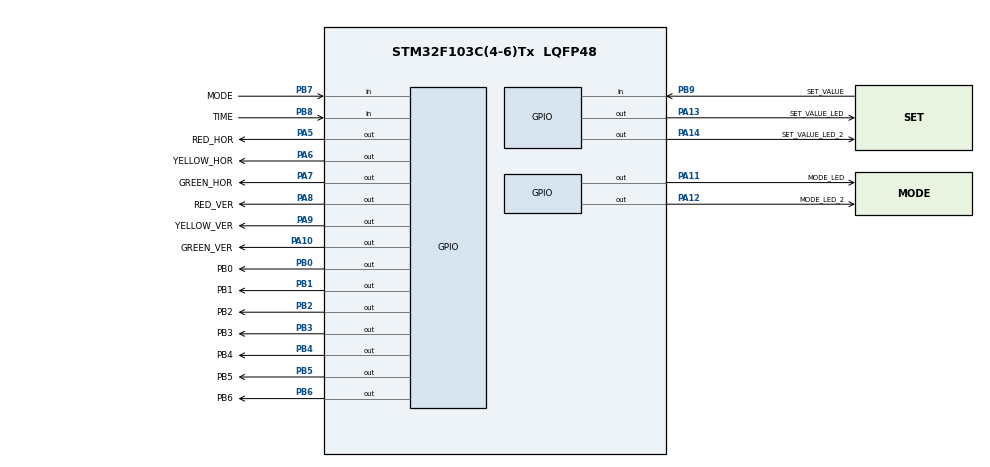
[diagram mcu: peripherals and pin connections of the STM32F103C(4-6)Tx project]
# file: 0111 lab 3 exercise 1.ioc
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Mcu.Family=STM32F1
Mcu.Name=STM32F103C(4-6)Tx
Mcu.Package=LQFP48
NVIC.PriorityGroup=NVIC_PRIORITYGROUP_4
NVIC.TIM2_IRQn=true\:0\:0\:false\:false\:true\:true\:true
NVIC.TIM3_IRQn=true\:0\:0\:false\:false\:true\:true\:true
PA10.GPIO_Label=GREEN_VER
PA10.Signal=GPIO_Output
PA11.GPIO_Label=MODE_LED
PA11.Signal=GPIO_Output
PA12.GPIO_Label=MODE_LED_2
PA12.Signal=GPIO_Output
PA13.GPIO_Label=SET_VALUE_LED
PA13.Signal=GPIO_Output
PA14.GPIO_Label=SET_VALUE_LED_2
PA14.Signal=GPIO_Output
PA5.GPIO_Label=RED_HOR
PA5.Signal=GPIO_Output
PA6.GPIO_Label=YELLOW_HOR
PA6.Signal=GPIO_Output
PA7.GPIO_Label=GREEN_HOR
PA7.Signal=GPIO_Output
PA8.GPIO_Label=RED_VER
PA8.Signal=GPIO_Output
PA9.GPIO_Label=YELLOW_VER
PA9.Signal=GPIO_Output
PB0.GPIO_Label=PB0
PB0.Signal=GPIO_Output
PB1.GPIO_Label=PB1
PB1.Signal=GPIO_Output
PB2.GPIO_Label=PB2
PB2.Signal=GPIO_Output
PB3.GPIO_Label=PB3
PB3.Signal=GPIO_Output
PB4.GPIO_Label=PB4
PB4.Signal=GPIO_Output
PB5.GPIO_Label=PB5
PB5.Signal=GPIO_Output
PB6.GPIO_Label=PB6
PB6.Signal=GPIO_Output
PB7.GPIO_Label=MODE
PB7.GPIO_PuPd=GPIO_PULLUP
PB7.Signal=GPIO_Input
PB8.GPIO_Label=TIME
PB8.GPIO_PuPd=GPIO_PULLUP
PB8.Signal=GPIO_Input
PB9.GPIO_Label=SET_VALUE
PB9.GPIO_PuPd=GPIO_PULLUP
PB9.Signal=GPIO_Input
ProjectManager.HeapSize=0x200
ProjectManager.StackSize=0x400
ProjectManager.TargetToolchain=STM32CubeIDE
RCC.APB1Freq_Value=8000000
RCC.APB2Freq_Value=8000000
TIM2.Period=9
TIM2.Prescaler=7999
TIM3.Period=499
TIM3.Prescaler=7999
VP_SYS_VS_ND.Mode=No_Debug
VP_TIM2_VS_ClockSourceINT.Mode=Internal
VP_TIM3_VS_ClockSourceINT.Mode=Internal
board=custom

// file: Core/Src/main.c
/* USER CODE BEGIN Header */
/**
  ******************************************************************************
  * @file           : main.c
  * @brief          : Main program body
  ******************************************************************************
  * @attention
  *
  * <h2><center>&copy; Copyright (c) 2022 STMicroelectronics.
  * All rights reserved.</center></h2>
  *
  * This software component is licensed by ST under BSD 3-Clause license,
  * the "License"; You may not use this file except in compliance with the
  * License. You may obtain a copy of the License at:
  *                        opensource.org/licenses/BSD-3-Clause
  *
  ******************************************************************************
  */
/* USER CODE END Header */
#include "main.h"

/* USER CODE BEGIN Includes */
#include "global.h"
/* USER CODE END Includes */

TIM_HandleTypeDef htim2;
TIM_HandleTypeDef htim3;

void SystemClock_Config(void);
static void MX_TIM2_Init(void);
static void MX_GPIO_Init(void);
static void MX_TIM3_Init(void);

/* USER CODE BEGIN 0 */
void Led_Display()
{
	  HAL_GPIO_TogglePin(RED_HOR_GPIO_Port, RED_HOR_Pin);
}

void Led2_Display()
{
	 HAL_GPIO_TogglePin(YELLOW_HOR_GPIO_Port, YELLOW_HOR_Pin);
}

void Led3_Display()
{
	 HAL_GPIO_TogglePin(GREEN_HOR_GPIO_Port,GREEN_HOR_Pin);
}

//	void (*test)(void) = Led_Display;

/* USER CODE END 0 */

int main(void)
{
  /* USER CODE BEGIN 1 */
//	HAL_GPIO_WritePin(RED_HOR_GPIO_Port, RED_HOR_Pin, 1);
//	HAL_GPIO_WritePin(GREEN_HOR_GPIO_Port, GREEN_HOR_Pin, 1);
	// In it all the requirements for the system to run
	//  	 System_Initialization() ;
	// Initialize a schedule
//		 SCH_Init() ;
	//Add a task to repeatedly call in every 1 second .
//		SCH_Add_Task( Led_Display , 50 , 50) ;

  /* USER CODE END 1 */

  /* MCU Configuration--------------------------------------------------------*/

  /* Reset of all peripherals, Initializes the Flash interface and the Systick. */
  HAL_Init();

  /* Configure the system clock */
  SystemClock_Config();

  /* Initialize all configured peripherals */
  MX_TIM2_Init();
  MX_GPIO_Init();
  MX_TIM3_Init();
  /* USER CODE BEGIN 2 */
  HAL_TIM_Base_Start_IT(&htim2);
  HAL_TIM_Base_Start_IT(&htim3);

  /* USER CODE END 2 */

  /* Infinite loop */
  /* USER CODE BEGIN WHILE */
  SCH_Add_Task(Led_Display, 50, 51);
  SCH_Add_Task(Led2_Display, 100, 0);
  SCH_Add_Task(Led3_Display, 150, 0);

  while (1)
  {
	 SCH_Dispatch_Tasks() ;//execute led display

    /* USER CODE END WHILE */

  }
}

void SystemClock_Config(void)
{
  RCC_OscInitTypeDef RCC_OscInitStruct = {0};
  RCC_ClkInitTypeDef RCC_ClkInitStruct = {0};

  /** Initializes the RCC Oscillators according to the specified parameters
  * in the RCC_OscInitTypeDef structure.
  */
  RCC_OscInitStruct.OscillatorType = RCC_OSCILLATORTYPE_HSI;
  RCC_OscInitStruct.HSIState = RCC_HSI_ON;
  RCC_OscInitStruct.HSICalibrationValue = RCC_HSICALIBRATION_DEFAULT;
  RCC_OscInitStruct.PLL.PLLState = RCC_PLL_NONE;
  if (HAL_RCC_OscConfig(&RCC_OscInitStruct) != HAL_OK)
  {
    Error_Handler();
  }
  /** Initializes the CPU, AHB and APB buses clocks
  */
  RCC_ClkInitStruct.ClockType = RCC_CLOCKTYPE_HCLK|RCC_CLOCKTYPE_SYSCLK
                              |RCC_CLOCKTYPE_PCLK1|RCC_CLOCKTYPE_PCLK2;
  RCC_ClkInitStruct.SYSCLKSource = RCC_SYSCLKSOURCE_HSI;
  RCC_ClkInitStruct.AHBCLKDivider = RCC_SYSCLK_DIV1;
  RCC_ClkInitStruct.APB1CLKDivider = RCC_HCLK_DIV1;
  RCC_ClkInitStruct.APB2CLKDivider = RCC_HCLK_DIV1;

  if (HAL_RCC_ClockConfig(&RCC_ClkInitStruct, FLASH_LATENCY_0) != HAL_OK)
  {
    Error_Handler();
  }
}

static void MX_TIM2_Init(void)
{

  TIM_ClockConfigTypeDef sClockSourceConfig = {0};
  TIM_MasterConfigTypeDef sMasterConfig = {0};

  htim2.Instance = TIM2;
  htim2.Init.Prescaler = 7999;
  htim2.Init.CounterMode = TIM_COUNTERMODE_UP;
  htim2.Init.Period = 9;
  htim2.Init.ClockDivision = TIM_CLOCKDIVISION_DIV1;
  htim2.Init.AutoReloadPreload = TIM_AUTORELOAD_PRELOAD_DISABLE;
  if (HAL_TIM_Base_Init(&htim2) != HAL_OK)
  {
    Error_Handler();
  }
  sClockSourceConfig.ClockSource = TIM_CLOCKSOURCE_INTERNAL;
  if (HAL_TIM_ConfigClockSource(&htim2, &sClockSourceConfig) != HAL_OK)
  {
    Error_Handler();
  }
  sMasterConfig.MasterOutputTrigger = TIM_TRGO_RESET;
  sMasterConfig.MasterSlaveMode = TIM_MASTERSLAVEMODE_DISABLE;
  if (HAL_TIMEx_MasterConfigSynchronization(&htim2, &sMasterConfig) != HAL_OK)
  {
    Error_Handler();
  }

}

static void MX_TIM3_Init(void)
{

  TIM_ClockConfigTypeDef sClockSourceConfig = {0};
  TIM_MasterConfigTypeDef sMasterConfig = {0};

  htim3.Instance = TIM3;
  htim3.Init.Prescaler = 7999;
  htim3.Init.CounterMode = TIM_COUNTERMODE_UP;
  htim3.Init.Period = 499;
  htim3.Init.ClockDivision = TIM_CLOCKDIVISION_DIV1;
  htim3.Init.AutoReloadPreload = TIM_AUTORELOAD_PRELOAD_DISABLE;
  if (HAL_TIM_Base_Init(&htim3) != HAL_OK)
  {
    Error_Handler();
  }
  sClockSourceConfig.ClockSource = TIM_CLOCKSOURCE_INTERNAL;
  if (HAL_TIM_ConfigClockSource(&htim3, &sClockSourceConfig) != HAL_OK)
  {
    Error_Handler();
  }
  sMasterConfig.MasterOutputTrigger = TIM_TRGO_RESET;
  sMasterConfig.MasterSlaveMode = TIM_MASTERSLAVEMODE_DISABLE;
  if (HAL_TIMEx_MasterConfigSynchronization(&htim3, &sMasterConfig) != HAL_OK)
  {
    Error_Handler();
  }

}

static void MX_GPIO_Init(void)
{
  GPIO_InitTypeDef GPIO_InitStruct = {0};

  /* GPIO Ports Clock Enable */
  __HAL_RCC_GPIOA_CLK_ENABLE();
  __HAL_RCC_GPIOB_CLK_ENABLE();

  /*Configure GPIO pin Output Level */
  HAL_GPIO_WritePin(GPIOA, RED_HOR_Pin|YELLOW_HOR_Pin|GREEN_HOR_Pin|RED_VER_Pin
                          |YELLOW_VER_Pin|GREEN_VER_Pin|MODE_LED_Pin|MODE_LED_2_Pin
                          |SET_VALUE_LED_Pin|SET_VALUE_LED_2_Pin, GPIO_PIN_RESET);

  /*Configure GPIO pin Output Level */
  HAL_GPIO_WritePin(GPIOB, PB0_Pin|PB1_Pin|PB2_Pin|PB3_Pin
                          |PB4_Pin|PB5_Pin|PB6_Pin, GPIO_PIN_RESET);

  /*Configure GPIO pins : RED_HOR_Pin YELLOW_HOR_Pin GREEN_HOR_Pin RED_VER_Pin
                           YELLOW_VER_Pin GREEN_VER_Pin MODE_LED_Pin MODE_LED_2_Pin
                           SET_VALUE_LED_Pin SET_VALUE_LED_2_Pin */
  GPIO_InitStruct.Pin = RED_HOR_Pin|YELLOW_HOR_Pin|GREEN_HOR_Pin|RED_VER_Pin
                          |YELLOW_VER_Pin|GREEN_VER_Pin|MODE_LED_Pin|MODE_LED_2_Pin
                          |SET_VALUE_LED_Pin|SET_VALUE_LED_2_Pin;
  GPIO_InitStruct.Mode = GPIO_MODE_OUTPUT_PP;
  GPIO_InitStruct.Pull = GPIO_NOPULL;
  GPIO_InitStruct.Speed = GPIO_SPEED_FREQ_LOW;
  HAL_GPIO_Init(GPIOA, &GPIO_InitStruct);

  /*Configure GPIO pins : PB0_Pin PB1_Pin PB2_Pin PB3_Pin
                           PB4_Pin PB5_Pin PB6_Pin */
  GPIO_InitStruct.Pin = PB0_Pin|PB1_Pin|PB2_Pin|PB3_Pin
                          |PB4_Pin|PB5_Pin|PB6_Pin;
  GPIO_InitStruct.Mode = GPIO_MODE_OUTPUT_PP;
  GPIO_InitStruct.Pull = GPIO_NOPULL;
  GPIO_InitStruct.Speed = GPIO_SPEED_FREQ_LOW;
  HAL_GPIO_Init(GPIOB, &GPIO_InitStruct);

  /*Configure GPIO pins : MODE_Pin TIME_Pin SET_VALUE_Pin */
  GPIO_InitStruct.Pin = MODE_Pin|TIME_Pin|SET_VALUE_Pin;
  GPIO_InitStruct.Mode = GPIO_MODE_INPUT;
  GPIO_InitStruct.Pull = GPIO_PULLUP;
  HAL_GPIO_Init(GPIOB, &GPIO_InitStruct);

}

/* USER CODE BEGIN 4 */
int count = 0;
void HAL_TIM_PeriodElapsedCallback(TIM_HandleTypeDef *htim){
	if(htim -> Instance == TIM2 )
	{
		SCH_Update();
	}

//	if(htim -> Instance == TIM3 )
//	{
//		HAL_GPIO_TogglePin(GREEN_HOR_GPIO_Port, GREEN_HOR_Pin);
//	}
}
/* USER CODE END 4 */

void Error_Handler(void)
{
  __disable_irq();
  while (1)
  {
  }
}

/************************ (C) COPYRIGHT STMicroelectronics *****END OF FILE****/
